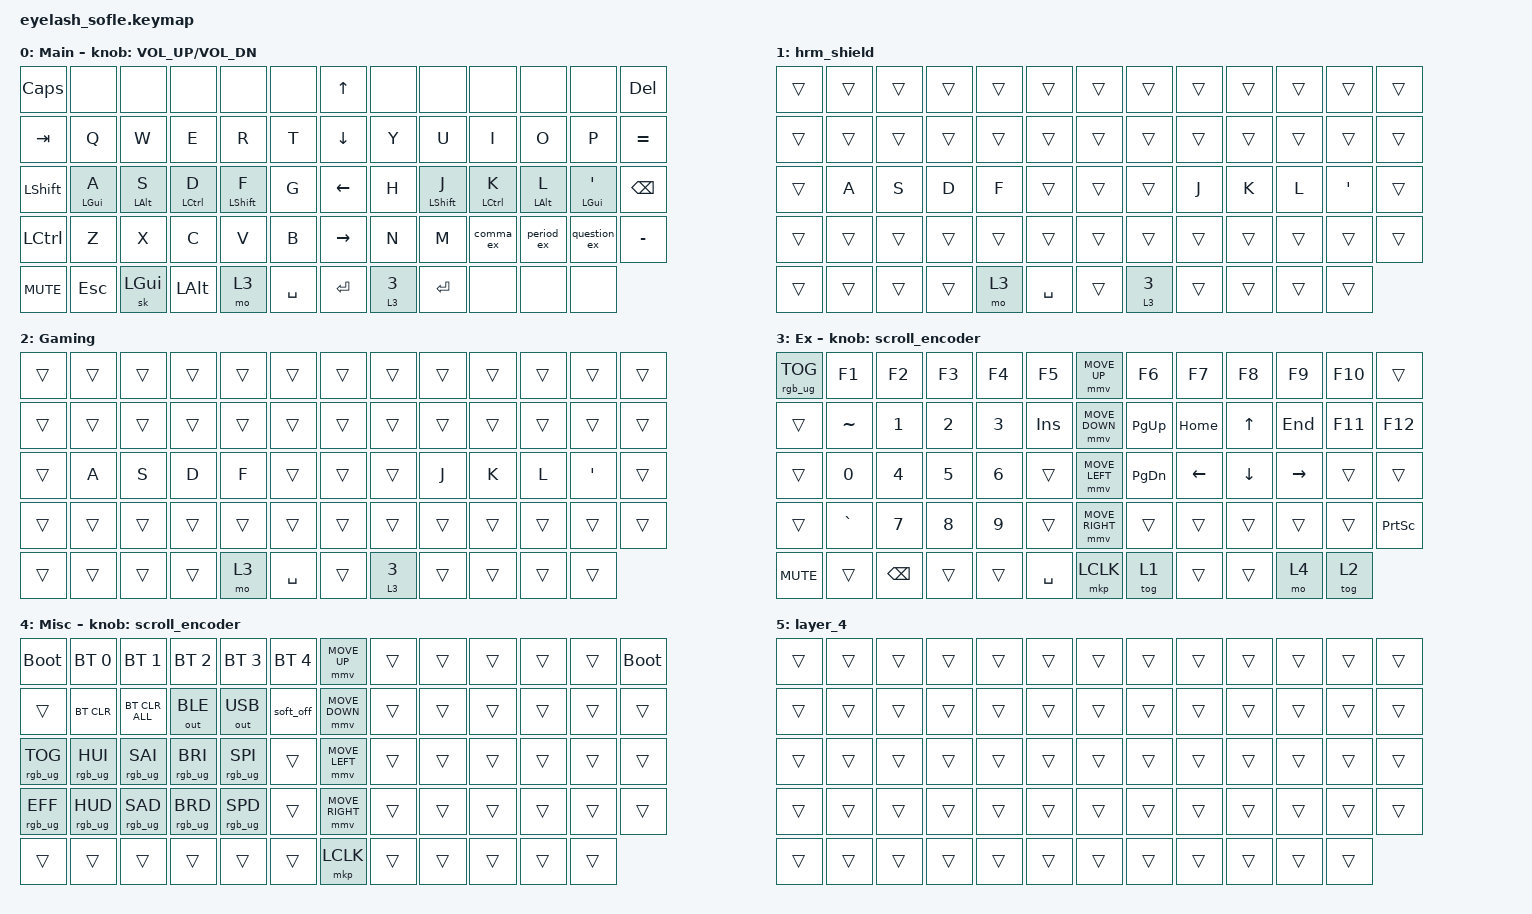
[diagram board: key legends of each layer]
#include <dt-bindings/zmk/mouse.h>
#include <input/processors.dtsi>
#include <behaviors.dtsi>
#include <dt-bindings/zmk/bt.h>
#include <dt-bindings/zmk/keys.h>
#include <dt-bindings/zmk/outputs.h>
#include <dt-bindings/zmk/pointing.h>
#include <dt-bindings/zmk/rgb.h>

/*

   &mmv_input_listener {
       input-processors = <&zip_xy_scaler 2 1>;
   };

   &msc_input_listener {
       input-processors = <&zip_xy_scaler 2 1>;
   };

 */

#define ZMK_MOUSE_DEFAULT_MOVE_VAL 1200  // 600
#define ZMK_MOUSE_DEFAULT_SCRL_VAL 20    // 10

/ {
    behaviors {
        mmv {
            acceleration-exponent = <1>;      // 1
            time-to-max-speed-ms = <900>;    // 40
            delay-ms = <0>;                   // 0
        };

        msc {
            acceleration-exponent = <1>;      // 0
            time-to-max-speed-ms = <400>;      // 500
            delay-ms = <0>;                   //   10
        };
    };

    scroll_encoder: scroll_encoder {
        compatible = "zmk,behavior-sensor-rotate";
        #sensor-binding-cells = <0>;
        bindings = <&msc SCRL_DOWN>, <&msc SCRL_UP>;

        tap-ms = <30>;
    };

    HRM_LEFT: HRM_LEFT {
        compatible = "zmk,behavior-hold-tap";
        label = "HRM_LEFT";
        #binding-cells = <2>;
        bindings = <&kp>, <&kp>;

        tapping-term-ms = <280>;
        require-prior-idle-ms = <130>;
        flavor = "balanced";
        hold-trigger-key-positions = <7 8 9 10 11 12 20 21 22 23 24 25 33 34 35 36 37 38 46 47 48 49 50 51 59 60 61 62 63>;
        hold-trigger-on-release;
    };

    HRM_RIGHT: HRM_RIGHT {
        compatible = "zmk,behavior-hold-tap";
        label = "HRM_RIGHT";
        #binding-cells = <2>;
        bindings = <&kp>, <&kp>;

        tapping-term-ms = <280>;
        require-prior-idle-ms = <130>;
        flavor = "balanced";
        hold-trigger-on-release;
        hold-trigger-key-positions = <0 1 2 3 4 5 13 14 15 16 17 18 26 27 28 29 30 31 39 40 41 42 43 44 52 53 54 55 56 57>;
    };

    left_parenthesis_ex: left_parenthesis_ex {
        compatible = "zmk,behavior-mod-morph";
        label = "LEFT_PARENTHESIS_EX";
        bindings = <&kp LEFT_PARENTHESIS>, <&kp LESS_THAN>;

        #binding-cells = <0>;
        mods = <(MOD_LSFT|MOD_RSFT|MOD_LGUI|MOD_RGUI)>;
    };

    right_parenthesis_ex: right_parenthesis_ex {
        compatible = "zmk,behavior-mod-morph";
        label = "RIGHT_PARENTHESIS_EX";
        bindings = <&kp RIGHT_PARENTHESIS>, <&kp GREATER_THAN>;

        #binding-cells = <0>;
        mods = <(MOD_LSFT|MOD_RSFT|MOD_LGUI|MOD_RGUI)>;
    };

    period_ex: period_ex {
        compatible = "zmk,behavior-mod-morph";
        label = "PERIOD_EX";
        bindings = <&kp PERIOD>, <&kp COLON>;

        #binding-cells = <0>;
        mods = <(MOD_LSFT|MOD_RSFT)>;
    };

    question_ex: question_ex {
        compatible = "zmk,behavior-mod-morph";
        label = "QUESTION_EX";
        bindings = <&kp QUESTION>, <&kp EXCLAMATION>;

        #binding-cells = <0>;
        mods = <(MOD_LSFT|MOD_RSFT)>;
    };

    left_bracket_ex: left_bracket_ex {
        compatible = "zmk,behavior-mod-morph";
        label = "LEFT_BRACKET_EX";
        bindings = <&kp LEFT_BRACKET>, <&kp LEFT_BRACE>;

        #binding-cells = <0>;
        mods = <(MOD_LSFT|MOD_RSFT|MOD_LGUI|MOD_RGUI)>;
    };

    right_bracket_ex: right_bracket_ex {
        compatible = "zmk,behavior-mod-morph";
        label = "RIGHT_BRACKET_EX";
        bindings = <&kp RIGHT_BRACKET>, <&kp RIGHT_BRACE>;

        #binding-cells = <0>;
        mods = <(MOD_LSFT|MOD_RSFT|MOD_LGUI|MOD_RGUI)>;
    };

    custom_hold_tap_for_space: custom_hold_tap_for_space {
        compatible = "zmk,behavior-hold-tap";
        label = "CUSTOM_HOLD_TAP_FOR_SPACE";
        bindings = <&mo>, <&kp>;

        #binding-cells = <2>;
        flavor = "balanced";
        tapping-term-ms = <200>;
        quick-tap-ms = <200>;
        retro-tap;
    };

    comma_ex: comma_ex {
        compatible = "zmk,behavior-mod-morph";
        label = "COMMA_EX";
        bindings = <&kp COMMA>, <&kp SEMI>;

        #binding-cells = <0>;
        mods = <(MOD_LSFT|MOD_LALT|MOD_RSFT)>;
    };

    custom_hold_tap_stickylayer: custom_hold_tap_stickylayer {
        compatible = "zmk,behavior-hold-tap";
        label = "CUSTOM_HOLD_TAP_STICKYLAYER";
        bindings = <&mo>, <&ex_sticky_layer>;

        #binding-cells = <2>;
        flavor = "hold-preferred";
        tapping-term-ms = <200>;
        hold-while-undecided-linger;
    };

    ex_sticky_layer: ex_sticky_layer {
        compatible = "zmk,behavior-sticky-key";
        label = "EX_STICKY_LAYER";
        bindings = <&mo>;
        #binding-cells = <1>;
        release-after-ms = <1500>;
        quick-release;
        ignore-modifiers;
    };

    combos {
        compatible = "zmk,combos";

        R_Bracket {
            bindings = <&right_bracket_ex>;
            key-positions = <29 30>;
            require-prior-idle-ms = <100>;
            layers = <0 1 3>;
        };

        L_Bracket {
            bindings = <&left_bracket_ex>;
            key-positions = <29 28>;
            require-prior-idle-ms = <100>;
            layers = <0 1 3>;
        };

        combo_F1 {
            bindings = <&kp F1>;
            key-positions = <1 14>;
            layers = <0 1>;
        };

        combo_F2 {
            bindings = <&kp F2>;
            key-positions = <2 15>;
            layers = <0 1>;
        };

        combo_F3 {
            bindings = <&kp F3>;
            key-positions = <3 16>;
            layers = <0 1>;
        };

        combo_F4 {
            bindings = <&kp F4>;
            key-positions = <4 17>;
            layers = <0 1>;
        };

        combo_F5 {
            bindings = <&kp F5>;
            key-positions = <5 18>;
            layers = <0 1>;
        };

        combo_F6 {
            bindings = <&kp F6>;
            key-positions = <7 20>;
            layers = <0 1>;
        };

        combo_F7 {
            bindings = <&kp F7>;
            key-positions = <8 21>;
            layers = <0 1>;
        };

        combo_F8 {
            bindings = <&kp F8>;
            key-positions = <9 22>;
            layers = <0 1>;
        };

        combo_F9 {
            bindings = <&kp F9>;
            key-positions = <10 23>;
            layers = <0 1>;
        };

        combo_F10 {
            bindings = <&kp F10>;
            key-positions = <11 24>;
            layers = <0 1>;
        };

        combo_lpar {
            bindings = <&left_parenthesis_ex>;
            key-positions = <35 34>;
            layers = <0 1>;
            require-prior-idle-ms = <100>;
        };

        combo_rpar {
            bindings = <&right_parenthesis_ex>;
            key-positions = <35 36>;
            layers = <0 1>;
            require-prior-idle-ms = <100>;
        };

        combo_ctrlv {
            bindings = <&kp LC(V)>;
            key-positions = <43 42>;
            require-prior-idle-ms = <100>;
            layers = <0>;
        };

        combo_slash {
            bindings = <&kp SLASH>;
            key-positions = <16 28>;
            require-prior-idle-ms = <100>;
            layers = <0 1 3>;
        };

        combo_backslash {
            bindings = <&kp BACKSLASH>;
            key-positions = <22 36>;
            require-prior-idle-ms = <100>;
            layers = <0 1 3>;
        };

        combo_ctrlc {
            bindings = <&kp LC(C)>;
            key-positions = <41 42>;
            require-prior-idle-ms = <100>;
            layers = <0>;
        };
    };

    keymap {
        compatible = "zmk,keymap";

        Main {
            bindings = <
&kp CAPSLOCK    &none                 &none                 &none              &none               &none        &kp UP_ARROW     &none                             &none                &none               &none                  &none                           &kp DELETE
&kp TAB         &kp Q                 &kp W                 &kp E              &kp R               &kp T        &kp DOWN_ARROW   &kp Y                             &kp U                &kp I               &kp O                  &kp P                           &kp EQUAL
&kp LEFT_SHIFT  &HRM_LEFT LEFT_GUI A  &HRM_LEFT LEFT_ALT S  &HRM_LEFT LCTRL D  &HRM_LEFT LSHIFT F  &kp G        &kp LEFT_ARROW   &kp H                             &HRM_RIGHT LSHIFT J  &HRM_RIGHT LCTRL K  &HRM_RIGHT LEFT_ALT L  &HRM_RIGHT LEFT_GUI APOSTROPHE  &kp BACKSPACE
&kp LCTRL       &kp Z                 &kp X                 &kp C              &kp V               &kp B        &kp RIGHT_ARROW  &kp N                             &kp M                &comma_ex           &period_ex             &question_ex                    &kp MINUS
&kp C_MUTE      &kp ESCAPE            &sk LEFT_GUI          &kp LEFT_ALT       &mo 3               &kp SPACE    &kp ENTER        &custom_hold_tap_stickylayer 3 3  &kp ENTER            &none               &none                  &none
            >;

            sensor-bindings = <&inc_dec_kp C_VOLUME_UP C_VOL_DN>;
            display-name = "Main";
        };

        hrm_shield {
            bindings = <
&trans  &trans  &trans  &trans  &trans  &trans       &trans  &trans                            &trans  &trans  &trans  &trans    &trans
&trans  &trans  &trans  &trans  &trans  &trans       &trans  &trans                            &trans  &trans  &trans  &trans    &trans
&trans  &kp A   &kp S   &kp D   &kp F   &trans       &trans  &trans                            &kp J   &kp K   &kp L   &kp APOS  &trans
&trans  &trans  &trans  &trans  &trans  &trans       &trans  &trans                            &trans  &trans  &trans  &trans    &trans
&trans  &trans  &trans  &trans  &mo 3   &kp SPACE    &trans  &custom_hold_tap_stickylayer 3 3  &trans  &trans  &trans  &trans
            >;

            label = "hrm_shield";
        };

        Gaming {
            bindings = <
&trans  &trans  &trans  &trans  &trans  &trans       &trans  &trans                            &trans  &trans  &trans  &trans          &trans
&trans  &trans  &trans  &trans  &trans  &trans       &trans  &trans                            &trans  &trans  &trans  &trans          &trans
&trans  &kp A   &kp S   &kp D   &kp F   &trans       &trans  &trans                            &kp J   &kp K   &kp L   &kp APOSTROPHE  &trans
&trans  &trans  &trans  &trans  &trans  &trans       &trans  &trans                            &trans  &trans  &trans  &trans          &trans
&trans  &trans  &trans  &trans  &mo 3   &kp SPACE    &trans  &custom_hold_tap_stickylayer 3 3  &trans  &trans  &trans  &trans
            >;

            label = "Gaming";
        };

        Ex {
            bindings = <
&rgb_ug RGB_TOG  &kp F1        &kp F2         &kp F3        &kp F4        &kp F5        &mmv MOVE_UP     &kp F6     &kp F7    &kp F8    &kp F9     &kp F10  &trans
&trans           &kp TILDE     &kp NUMBER_1   &kp NUMBER_2  &kp NUMBER_3  &kp INSERT    &mmv MOVE_DOWN   &kp PG_UP  &kp HOME  &kp UP    &kp END    &kp F11  &kp F12
&trans           &kp NUMBER_0  &kp NUMBER_4   &kp N5        &kp NUMBER_6  &trans        &mmv MOVE_LEFT   &kp PG_DN  &kp LEFT  &kp DOWN  &kp RIGHT  &trans   &trans
&trans           &kp GRAVE     &kp N7         &kp NUMBER_8  &kp NUMBER_9  &trans        &mmv MOVE_RIGHT  &trans     &trans    &trans    &trans     &trans   &kp PRINTSCREEN
&kp C_MUTE       &trans        &kp BACKSPACE  &trans        &trans        &kp SPACE     &mkp LCLK        &tog 1     &trans    &trans    &mo 4      &tog 2
            >;

            display-name = "Ex";
            sensor-bindings = <&scroll_encoder>;
        };

        Misc {
            bindings = <
&bootloader      &bt BT_SEL 0     &bt BT_SEL 1     &bt BT_SEL 2     &bt BT_SEL 3     &bt BT_SEL 4    &mmv MOVE_UP     &trans  &trans  &trans  &trans  &trans  &bootloader
&trans           &bt BT_CLR       &bt BT_CLR_ALL   &out OUT_BLE     &out OUT_USB     &soft_off       &mmv MOVE_DOWN   &trans  &trans  &trans  &trans  &trans  &trans
&rgb_ug RGB_TOG  &rgb_ug RGB_HUI  &rgb_ug RGB_SAI  &rgb_ug RGB_BRI  &rgb_ug RGB_SPI  &trans          &mmv MOVE_LEFT   &trans  &trans  &trans  &trans  &trans  &trans
&rgb_ug RGB_EFF  &rgb_ug RGB_HUD  &rgb_ug RGB_SAD  &rgb_ug RGB_BRD  &rgb_ug RGB_SPD  &trans          &mmv MOVE_RIGHT  &trans  &trans  &trans  &trans  &trans  &trans
&trans           &trans           &trans           &trans           &trans           &trans          &mkp LCLK        &trans  &trans  &trans  &trans  &trans
            >;

            sensor-bindings = <&scroll_encoder>;
            label = "Misc";
        };

        layer_4 {
            bindings = <
&trans  &trans  &trans  &trans  &trans  &trans    &trans  &trans  &trans  &trans  &trans  &trans  &trans
&trans  &trans  &trans  &trans  &trans  &trans    &trans  &trans  &trans  &trans  &trans  &trans  &trans
&trans  &trans  &trans  &trans  &trans  &trans    &trans  &trans  &trans  &trans  &trans  &trans  &trans
&trans  &trans  &trans  &trans  &trans  &trans    &trans  &trans  &trans  &trans  &trans  &trans  &trans
&trans  &trans  &trans  &trans  &trans  &trans    &trans  &trans  &trans  &trans  &trans  &trans
            >;
        };
    };

    conditional_layers { compatible = "zmk,conditional-layers"; };
};
